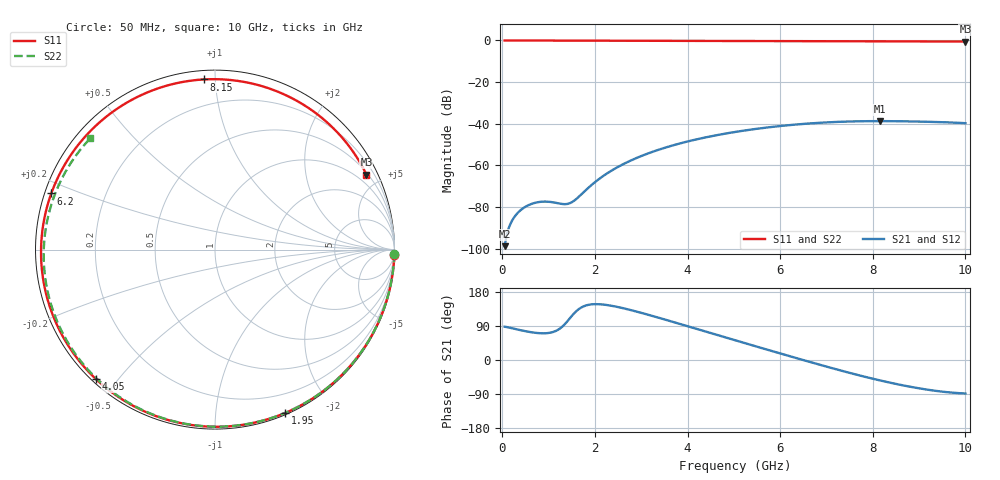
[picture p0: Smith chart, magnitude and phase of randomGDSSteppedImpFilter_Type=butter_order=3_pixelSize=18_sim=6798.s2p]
! freq	dB(S11)	phase(S11)	dB(S12)	phase(S12)
!  dB(S21)	phase(S21)	dB(S22)	phase(S22)
!S-par simulation data
#  GHz  S  DB  R 50
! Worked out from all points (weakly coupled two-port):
!   200 points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, 50 MHz to 10 GHz, reference 50 ohm
!   highest |S21| = -38.76 dB at 8.15 GHz (marker M1); lowest = -98.9 dB at 50 MHz (marker M2)
!   lowest |S11| = -0.5 dB at 10 GHz (marker M3), VSWR 33.25, Z = 28.5 + j210 ohm
!   |S11| at or under -10 dB: nowhere
!   |S22| runs from -0.6 to 0.0 dB; largest |S21 - S12| = 0
!   S11 on the Smith chart (normalised r, x): 50 MHz: 0, -64; 1.95 GHz: 0.02, -1.52; 4.05 GHz: 0.01, -0.44; 6.2 GHz: 0.02, +0.17; 8.15 GHz: 0.05, +0.93; 10 GHz: 0.57, +4.20
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0.05  -0.00 -1.8  -98.85 87.8  -98.85 87.8  -0.00 -1.3
0.5  -0.02 -17.6  -79.92 76.0  -79.92 76.0  -0.02 -12.9
0.7  -0.03 -24.5  -78.06 72.0  -78.06 72.0  -0.02 -18.0
0.9  -0.04 -31.4  -77.44 70.4  -77.44 70.4  -0.03 -23.0
1.4  -0.06 -48.5  -78.58 101.4  -78.58 101.4  -0.05 -35.6
1.55  -0.07 -53.6  -77.04 123.1  -77.04 123.1  -0.05 -39.3
1.75  -0.08 -60.2  -73.05 141.3  -73.05 141.3  -0.06 -44.2
1.95  -0.08 -66.8  -69.03 147.1  -69.03 147.1  -0.06 -49.1
2.25  -0.10 -76.6  -64.06 145.2  -64.06 145.2  -0.07 -56.3
2.6  -0.11 -87.8  -59.57 136.9  -59.57 136.9  -0.08 -64.6
3.4  -0.14 -112.8  -52.34 110.7  -52.34 110.7  -0.11 -82.8
4.05  -0.18 -132.6  -48.28 87.4  -48.28 87.4  -0.13 -97.1
5.05  -0.23 -162.9  -43.89 51.2  -43.89 51.2  -0.18 -118.0
5.65  -0.28 178.6  -42.01 29.8  -42.01 29.8  -0.21 -130.3
6.2  -0.32 161.1  -40.68 10.3  -40.68 10.3  -0.25 -141.3
6.7  -0.35 144.7  -39.78 -7.2  -39.78 -7.2  -0.28 -151.3
7.45  -0.40 118.9  -38.97 -32.4  -38.97 -32.4  -0.35 -166.4
8.15  -0.44 93.8  -38.76 -53.7  -38.76 -53.7  -0.41 179.3
8.35  -0.45 86.5  -38.77 -59.2  -38.77 -59.2  -0.43 175.1
9.1  -0.48 58.8  -39.03 -76.8  -39.03 -76.8  -0.51 158.9
9.55  -0.50 42.4  -39.31 -84.2  -39.31 -84.2  -0.57 148.8
10  -0.52 26.3  -39.76 -88.4  -39.76 -88.4  -0.62 138.3
